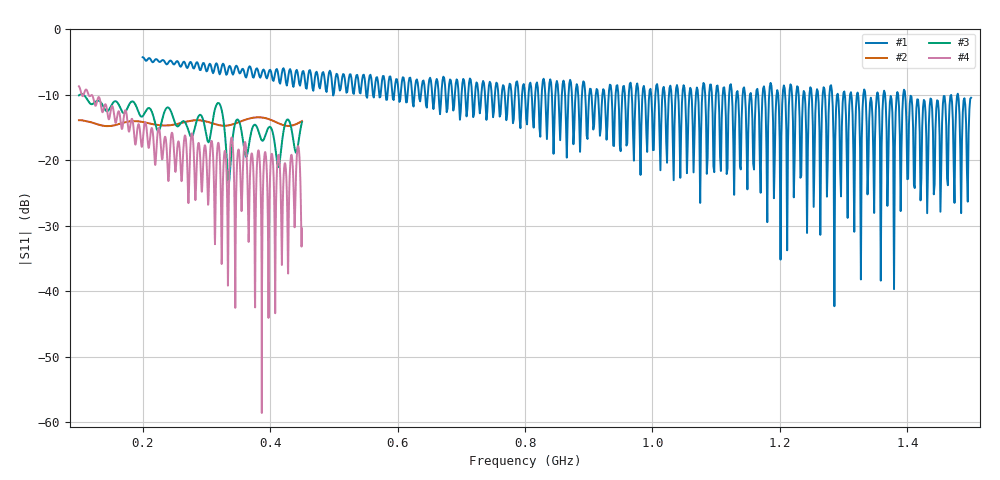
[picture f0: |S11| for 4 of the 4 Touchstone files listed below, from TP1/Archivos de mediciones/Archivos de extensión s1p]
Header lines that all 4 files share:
!Agilent N9923A: A.05.17
!Model: N9923A
!Serial: MY50371189
!Correction: S11(ON U)
!S1P File: Measurement: S11:
# Hz S RI R 50
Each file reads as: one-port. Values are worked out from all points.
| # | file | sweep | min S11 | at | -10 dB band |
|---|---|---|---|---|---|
| 1 | AutoSave5.s1p | 200 MHz to 1.5 GHz | -42.3 dB | 1.286 GHz | 82.14 MHz wide |
| 2 | AutoSave7.s1p | 100 MHz to 450 MHz | -14.8 dB | 145.2 MHz | over 350 MHz wide |
| 3 | AutoSave8.s1p | 100 MHz to 450 MHz | -23.5 dB | 335.2 MHz | over 343 MHz wide |
| 4 | AutoSave9.s1p | 100 MHz to 450 MHz | -58.6 dB | 387 MHz | over 334.9 MHz wide |
